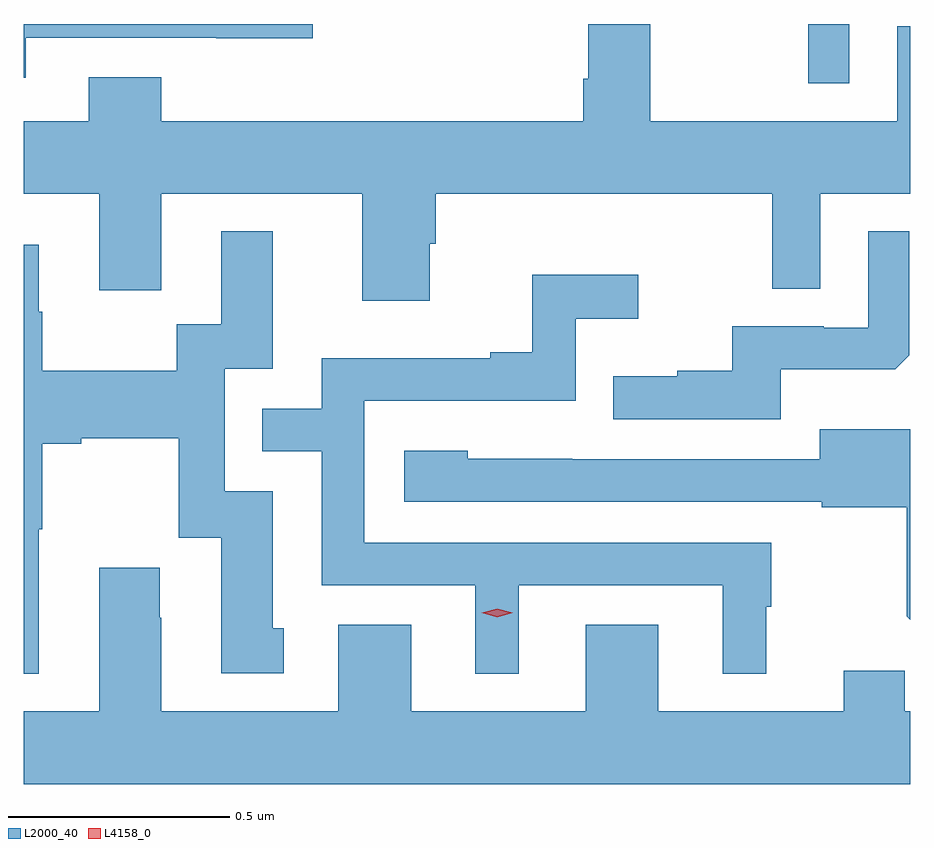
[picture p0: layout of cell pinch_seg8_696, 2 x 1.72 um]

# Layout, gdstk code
import gdstk
lib = gdstk.Library(unit=1e-6, precision=1e-09)
def R(c, l, rs):  # rectangles x0, y0, x1, y1
    for r in rs: c.add(gdstk.rectangle(r[:2], r[2:], *l))
def P(c, l, *ps):  # polygons
    for p in ps: c.add(gdstk.Polygon(p, *l))
L2000_40 = (2000, 40)
L4158_0 = (4158, 0)

pinch_seg8_696 = lib.new_cell('pinch_seg8_696')
R(pinch_seg8_696, L2000_40, [(350.235,1107.425,350.328,1107.559)])
P(pinch_seg8_696, L2000_40, [(349.381,1107.063),(349.394,1107.063),(349.394,1107.176),(350.154,1107.176),(350.154,1106.962),(350.262,1106.962),(350.262,1107.176),(350.465,1107.176),(350.465,1107.554),(350.436,1107.554),(350.436,1107.34),(349.879,1107.34),(349.879,1107.559),(349.739,1107.559),(349.739,1107.436),(349.727,1107.436),(349.727,1107.34),(348.775,1107.34),(348.775,1107.439),(348.611,1107.439),(348.611,1107.34),(348.465,1107.34),(348.465,1107.176),(348.635,1107.176),(348.635,1106.958),(348.775,1106.958),(348.775,1107.176),(349.229,1107.176),(349.229,1106.934),(349.381,1106.934)],
  [(348.469,1107.528),(348.899,1107.528),(348.899,1107.527),(349.117,1107.527),(349.117,1107.559),(348.465,1107.559),(348.465,1107.438),(348.469,1107.438)],
  [(350.173,1106.78),(350.431,1106.78),(350.463,1106.811),(350.463,1107.091),(350.37,1107.091),(350.37,1106.874),(350.27,1106.874),(350.27,1106.877),(350.063,1106.877),(350.063,1106.776),(349.939,1106.776),(349.939,1106.764),(349.795,1106.764),(349.795,1106.667),(350.173,1106.667)],
  [(348.499,1106.419),(348.507,1106.419),(348.507,1106.612),(348.595,1106.612),(348.595,1106.624),(348.815,1106.624),(348.815,1106.4),(348.911,1106.4),(348.911,1106.094),(349.051,1106.094),(349.051,1106.196),(349.027,1106.196),(349.027,1106.505),(348.918,1106.505),(348.918,1106.781),(349.027,1106.781),(349.027,1107.091),(348.911,1107.091),(348.911,1106.882),(348.81,1106.882),(348.81,1106.776),(348.507,1106.776),(348.507,1106.91),(348.499,1106.91),(348.499,1107.061),(348.465,1107.061),(348.465,1106.093),(348.499,1106.093)],
  [(349.582,1106.292),(350.042,1106.292),(350.042,1106.093),(350.14,1106.093),(350.14,1106.244),(350.152,1106.244),(350.152,1106.388),(349.233,1106.388),(349.233,1106.709),(349.71,1106.709),(349.71,1106.894),(349.852,1106.894),(349.852,1106.993),(349.612,1106.993),(349.612,1106.818),(349.517,1106.818),(349.517,1106.805),(349.137,1106.805),(349.137,1106.691),(349.003,1106.691),(349.003,1106.595),(349.137,1106.595),(349.137,1106.292),(349.484,1106.292),(349.484,1106.093),(349.582,1106.093)],
  [(350.465,1106.644),(350.261,1106.644),(350.261,1106.577),(349.703,1106.577),(349.703,1106.578),(349.467,1106.578),(349.467,1106.596),(349.323,1106.596),(349.323,1106.481),(350.265,1106.481),(350.265,1106.469),(350.457,1106.469),(350.457,1106.223),(350.465,1106.215)],
  [(348.772,1106.219),(348.772,1106.332),(348.635,1106.332),(348.635,1106.008),(348.465,1106.008),(348.465,1105.844),(350.465,1105.844),(350.465,1106.008),(350.453,1106.008),(350.453,1106.099),(350.315,1106.099),(350.315,1106.008),(349.897,1106.008),(349.897,1106.203),(349.733,1106.203),(349.733,1106.008),(349.339,1106.008),(349.339,1106.203),(349.175,1106.203),(349.175,1106.008),(348.775,1106.008),(348.775,1106.219)])
P(pinch_seg8_696, L4158_0, [(349.533,1106.22),(349.498,1106.23),(349.497,1106.23),(349.498,1106.23),(349.533,1106.24),(349.568,1106.23),(349.568,1106.23),(349.568,1106.23)])

lib.write_gds('pinch_seg8_696.gds')
